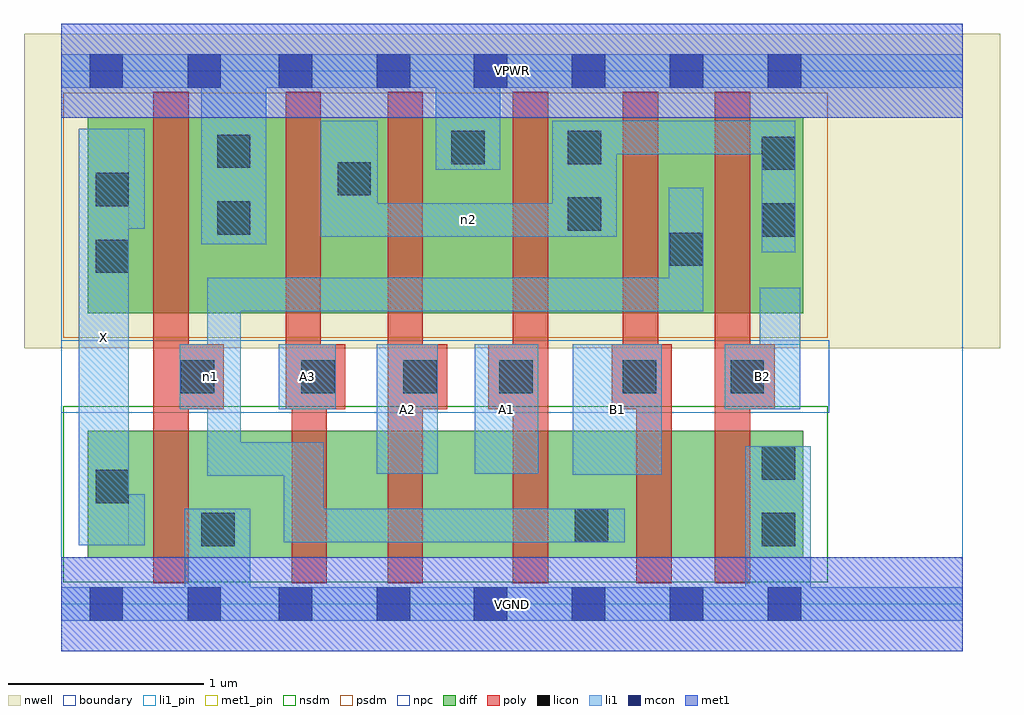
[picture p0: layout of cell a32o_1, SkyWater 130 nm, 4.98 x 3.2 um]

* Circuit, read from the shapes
.subckt a32o_1 A1 A2 A3 B1 B2 VGND VPWR X n1 n2
XM1 VGND n1 X VSUBS sky130_fd_pr__nfet_01v8 w=0.65 l=0.18
XM2 n3 A3 VGND VSUBS sky130_fd_pr__nfet_01v8 w=0.65 l=0.18
XM3 n4 A2 n3 VSUBS sky130_fd_pr__nfet_01v8 w=0.65 l=0.18
XM4 n1 A1 n4 VSUBS sky130_fd_pr__nfet_01v8 w=0.65 l=0.18
XM5 n5 B1 n1 VSUBS sky130_fd_pr__nfet_01v8 w=0.65 l=0.18
XM6 VGND B2 n5 VSUBS sky130_fd_pr__nfet_01v8 w=0.65 l=0.18
XM7 VPWR n1 X n6 sky130_fd_pr__pfet_01v8 w=1 l=0.18
XM8 n2 A3 VPWR n6 sky130_fd_pr__pfet_01v8 w=1 l=0.18
XM9 VPWR A2 n2 n6 sky130_fd_pr__pfet_01v8 w=1 l=0.18
XM10 n2 A1 VPWR n6 sky130_fd_pr__pfet_01v8 w=1 l=0.18
XM11 n1 B1 n2 n6 sky130_fd_pr__pfet_01v8 w=1 l=0.18
XM12 n2 B2 n1 n6 sky130_fd_pr__pfet_01v8 w=1 l=0.18
.ends

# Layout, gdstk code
import gdstk
lib = gdstk.Library(unit=1e-6, precision=1e-09)
def R(c, l, rs):  # rectangles x0, y0, x1, y1
    for r in rs: c.add(gdstk.rectangle(r[:2], r[2:], *l))
def A(c, l, x, y, w, h, nx, ny, dx, dy):  # array of equal rectangles
    R(c, l, [(x+i*dx, y+j*dy, x+i*dx+w, y+j*dy+h) for i in range(nx) for j in range(ny)])
nwell = (64, 20)
diff = (65, 20)
poly = (66, 20)
licon = (66, 44)
li1_pin = (67, 16)
li1 = (67, 20)
mcon = (67, 44)
met1_pin = (68, 16)
met1 = (68, 20)
nsdm = (93, 44)
psdm = (94, 20)
npc = (95, 20)
boundary = (235, 4)

a32o_1 = lib.new_cell('a32o_1')
R(a32o_1, nwell, [(-0.19,1.305,4.79,2.91), (0,1.305,4.6,2.91)])
R(a32o_1, diff, [(0.135,0.235,3.785,0.885), (0.135,1.485,3.785,2.485)])
R(a32o_1, poly, [(0.47,0.105,0.65,2.615), (1.175,0.105,1.355,1.325), (1.665,0.105,1.845,2.615), (2.305,0.105,2.485,2.615), (2.935,0.105,3.115,1.325), (3.335,0.105,3.515,2.615), (0.47,0.995,0.83,1.325), (1.145,0.995,1.325,2.615), (1.145,0.995,1.45,1.325), (1.665,0.995,1.97,1.325), (2.18,0.995,2.485,1.325), (2.81,0.995,3.115,1.325), (2.865,0.995,3.045,2.615), (3.335,0.995,3.64,1.325)])
R(a32o_1, licon, [(0.715,0.295,0.885,0.465), (3.575,0.295,3.745,0.465), (2.62,0.315,2.79,0.485), (0.175,0.515,0.345,0.685), (3.575,0.635,3.745,0.805), (0.61,1.075,0.78,1.245), (1.225,1.075,1.395,1.245), (1.745,1.075,1.915,1.245), (2.235,1.075,2.405,1.245), (2.865,1.075,3.035,1.245), (3.415,1.075,3.585,1.245), (0.175,1.69,0.345,1.86), (3.105,1.725,3.275,1.895), (3.575,1.875,3.745,2.045), (0.795,1.885,0.965,2.055), (2.585,1.905,2.755,2.075), (0.175,2.03,0.345,2.2), (1.41,2.085,1.58,2.255), (3.575,2.215,3.745,2.385), (0.795,2.225,0.965,2.395), (1.99,2.245,2.16,2.415), (2.585,2.245,2.755,2.415)])
R(a32o_1, li1_pin, [(0.09,0.3,0.345,2.425), (2.61,0.66,3.065,1.325), (1.61,0.665,1.92,1.325), (2.11,0.665,2.435,1.325), (1.11,0.995,1.4,1.325), (3.385,0.995,3.77,1.325)])
R(a32o_1, li1, [(0,-0.085,4.6,0.085), (0.63,-0.085,0.965,0.485), (3.49,-0.085,3.825,0.805), (0.09,0.3,0.345,2.425), (0.09,0.3,0.425,0.56), (1.135,0.315,2.875,0.485), (1.135,0.315,1.34,0.825), (0.745,0.655,0.915,1.665), (0.745,0.655,1.34,0.825), (2.61,0.66,3.065,1.325), (1.61,0.665,1.92,1.325), (2.11,0.665,2.435,1.325), (0.605,0.995,0.915,1.325), (1.11,0.995,1.4,1.325), (3.385,0.995,3.77,1.325), (3.565,0.995,3.77,1.615), (0.745,1.495,3.275,1.665), (3.1,1.495,3.275,2.125), (3.575,1.795,3.745,2.465), (0.715,1.835,1.045,2.805), (1.325,1.875,2.835,2.045), (1.325,1.875,1.615,2.465), (2.505,1.875,2.835,2.465), (0.09,1.915,0.425,2.425), (1.91,2.215,2.24,2.805), (2.505,2.295,3.745,2.465), (0,2.635,4.6,2.805)])
A(a32o_1, mcon, 2.105, -0.085, 0.17, 0.17, 4, 2, 0.5, 2.72)
R(a32o_1, mcon, [(0.145,-0.085,0.315,0.085), (0.645,-0.085,0.815,0.085), (1.11,-0.085,1.28,0.085), (1.61,-0.085,1.78,0.085), (0.145,2.635,0.315,2.805), (0.645,2.635,0.815,2.805), (1.11,2.635,1.28,2.805), (1.61,2.635,1.78,2.805)])
R(a32o_1, met1_pin, [(0,-0.24,4.6,0.24), (0,2.48,4.6,2.96)])
R(a32o_1, met1, [(0,-0.24,4.6,0.24), (0,2.48,4.6,2.96)])
R(a32o_1, nsdm, [(0.01,0.11,3.91,1.01)])
R(a32o_1, psdm, [(0.01,1.36,3.91,2.61)])
R(a32o_1, npc, [(0,0.975,3.92,1.345)])
R(a32o_1, boundary, [(0,0,4.6,2.72)])
a32o_1.add(gdstk.Label('A1', (2.272,0.995), layer=67, texttype=5))
a32o_1.add(gdstk.Label('A2', (1.765,0.995), layer=67, texttype=5))
a32o_1.add(gdstk.Label('A3', (1.255,1.16), layer=67, texttype=5))
a32o_1.add(gdstk.Label('B1', (2.837,0.992), layer=67, texttype=5))
a32o_1.add(gdstk.Label('B2', (3.577,1.16), layer=67, texttype=5))
a32o_1.add(gdstk.Label('X', (0.217,1.362), layer=67, texttype=5))
a32o_1.add(gdstk.Label('n1', (0.76,1.16), layer=67, texttype=5))
a32o_1.add(gdstk.Label('n2', (2.08,1.96), layer=67, texttype=5))
a32o_1.add(gdstk.Label('VPWR', (2.3,2.72), layer=68, texttype=5))
a32o_1.add(gdstk.Label('VGND', (2.3,0), layer=68, texttype=5))
a32o_1.add(gdstk.Label('A1', (2.272,0.995), layer=67, texttype=16))
a32o_1.add(gdstk.Label('A2', (1.765,0.995), layer=67, texttype=16))
a32o_1.add(gdstk.Label('A3', (1.255,1.16), layer=67, texttype=16))
a32o_1.add(gdstk.Label('B1', (2.837,0.992), layer=67, texttype=16))
a32o_1.add(gdstk.Label('B2', (3.577,1.16), layer=67, texttype=16))
a32o_1.add(gdstk.Label('X', (0.217,1.362), layer=67, texttype=16))
a32o_1.add(gdstk.Label('VPWR', (2.3,2.72), layer=68, texttype=16))
a32o_1.add(gdstk.Label('VGND', (2.3,0), layer=68, texttype=16))

lib.write_gds('a32o_1.gds')
